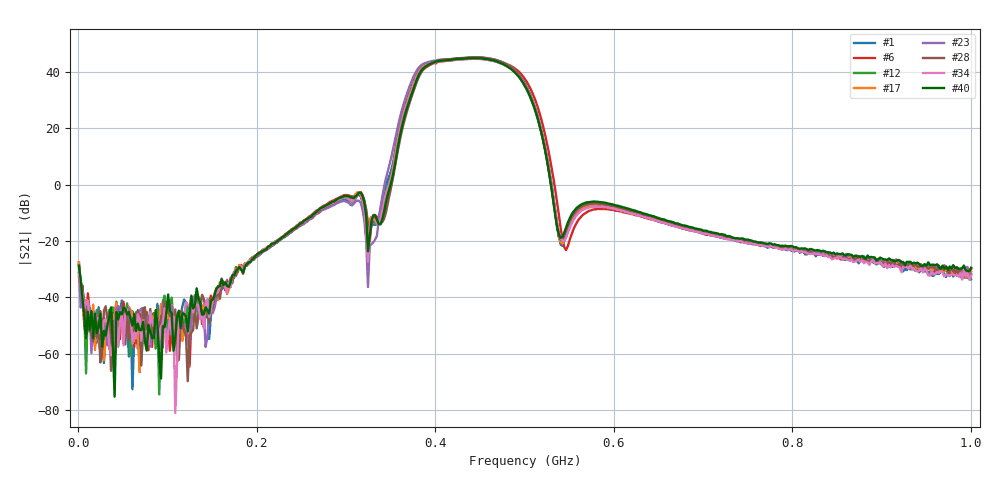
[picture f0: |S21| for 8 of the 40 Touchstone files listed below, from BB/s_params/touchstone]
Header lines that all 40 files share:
!cal_instance: BBtestOct27
!cal_created: 2026-10-27T14:45
!cal_file: BBtesting.cal
!port1_delay_ps: -58.63
!port2_delay_ps: -59.31
!host: dhcp-10-250-247-203.harvard.edu
! Created with skrf 2.1.0 (http://scikit-rf.org).
# Hz S RI R 50.0
!freq ReS11 ImS11 ReS21 ImS21 ReS12 ImS12 ReS22 ImS22
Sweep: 1 MHz to 1 GHz
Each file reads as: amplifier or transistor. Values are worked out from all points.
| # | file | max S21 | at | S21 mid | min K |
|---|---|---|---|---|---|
| 1 | BAC00029P1.s2p | 44.7 dB | 442.6 MHz | 34.8 dB at 500.5 MHz | 0.79 |
| 2 | BAC00030P1.s2p | 44.6 dB | 442.6 MHz | 33.6 dB at 500.5 MHz | 0.97 |
| 3 | BAC00031P1.s2p | 44.9 dB | 446.6 MHz | 36.1 dB at 500.5 MHz | 0.96 |
| 4 | BAC00032P1.s2p | 44.7 dB | 442.6 MHz | 36.3 dB at 500.5 MHz | 0.74 |
| 5 | BAC00035P1.s2p | 44.8 dB | 442.6 MHz | 35.6 dB at 500.5 MHz | 0.98 |
| 6 | BAC00036P1.s2p | 44.7 dB | 442.6 MHz | 37.4 dB at 500.5 MHz | 0.98 |
| 7 | BAC00038P1.s2p | 44.7 dB | 442.6 MHz | 33.8 dB at 500.5 MHz | -1.13 |
| 8 | BAC00039P1.s2p | 45.3 dB | 442.6 MHz | 34.8 dB at 500.5 MHz | 0.89 |
| 9 | BAC00042P1.s2p | 44.5 dB | 442.6 MHz | 34.1 dB at 500.5 MHz | 0.96 |
| 10 | BAC00043P1.s2p | 45.1 dB | 442.6 MHz | 34.6 dB at 500.5 MHz | 0.89 |
| 11 | BAC00044P1.s2p | 45.1 dB | 442.6 MHz | 34.1 dB at 500.5 MHz | 0.99 |
| 12 | BAC00045P1.s2p | 44.9 dB | 442.6 MHz | 35.6 dB at 500.5 MHz | 0.96 |
| 13 | BAC00046P1.s2p | 45.2 dB | 446.6 MHz | 36.8 dB at 500.5 MHz | 0.88 |
| 14 | BAC00047P1.s2p | 44.6 dB | 442.6 MHz | 33.8 dB at 500.5 MHz | 0.76 |
| 15 | BAC00048P1.s2p | 44.5 dB | 442.6 MHz | 34.9 dB at 500.5 MHz | 0.94 |
| 16 | BAC00049P1.s2p | 44.8 dB | 446.6 MHz | 35.9 dB at 500.5 MHz | 0.98 |
| 17 | BAC00050P1.s2p | 45.0 dB | 442.6 MHz | 35.5 dB at 500.5 MHz | 0.97 |
| 18 | BAC00051P1.s2p | 44.4 dB | 442.6 MHz | 33.4 dB at 500.5 MHz | 0.96 |
| 19 | BAC00052P1.s2p | 45.1 dB | 446.6 MHz | 35.8 dB at 500.5 MHz | 0.77 |
| 20 | BAC00053P1.s2p | 44.9 dB | 442.6 MHz | 34.7 dB at 500.5 MHz | 0.96 |
| 21 | BAC00054P1.s2p | 45.1 dB | 446.6 MHz | 36.6 dB at 500.5 MHz | 0.94 |
| 22 | BAC00055P1.s2p | 45.0 dB | 442.6 MHz | 33.3 dB at 500.5 MHz | 0.92 |
| 23 | BAC00056P1.s2p | 45.1 dB | 442.6 MHz | 35.7 dB at 500.5 MHz | -9.88 |
| 24 | BAC00057P1.s2p | 45.2 dB | 446.6 MHz | 35.8 dB at 500.5 MHz | 0.97 |
| 25 | BAC00058P1.s2p | 45.2 dB | 442.6 MHz | 36.9 dB at 500.5 MHz | 0.73 |
| 26 | BAC00059P1.s2p | 44.9 dB | 442.6 MHz | 35.4 dB at 500.5 MHz | 0.84 |
| 27 | BAC00060P1.s2p | 44.4 dB | 442.6 MHz | 34.5 dB at 500.5 MHz | 0.99 |
| 28 | BAC00061P1.s2p | 45.1 dB | 442.6 MHz | 35.4 dB at 500.5 MHz | 0.97 |
| 29 | BAC00062P1.s2p | 45.0 dB | 442.6 MHz | 33.9 dB at 500.5 MHz | 0.77 |
| 30 | BAC00063P1.s2p | 45.0 dB | 440.6 MHz | 34.8 dB at 500.5 MHz | 0.86 |
| 31 | BAC00064P1.s2p | 44.9 dB | 446.6 MHz | 35.7 dB at 500.5 MHz | 0.78 |
| 32 | BAC00065P1.s2p | 44.5 dB | 438.6 MHz | 33.1 dB at 500.5 MHz | 0.82 |
| 33 | BAC00066P1.s2p | 45.5 dB | 448.6 MHz | 36.0 dB at 500.5 MHz | 0.72 |
| 34 | BAC00067P1.s2p | 44.6 dB | 442.6 MHz | 35.2 dB at 500.5 MHz | 0.90 |
| 35 | BAC00068P1.s2p | 45.0 dB | 442.6 MHz | 35.2 dB at 500.5 MHz | 0.72 |
| 36 | BAC00069P1.s2p | 44.4 dB | 442.6 MHz | 34.4 dB at 500.5 MHz | 0.83 |
| 37 | BAC00070P1.s2p | 45.0 dB | 442.6 MHz | 35.4 dB at 500.5 MHz | 0.91 |
| 38 | BAC00071P1.s2p | 45.2 dB | 446.6 MHz | 36.1 dB at 500.5 MHz | 0.92 |
| 39 | BAC00072P1.s2p | 44.9 dB | 446.6 MHz | 34.5 dB at 500.5 MHz | 0.97 |
| 40 | BAC00073P1.s2p | 44.8 dB | 442.6 MHz | 34.9 dB at 500.5 MHz | 0.92 |
